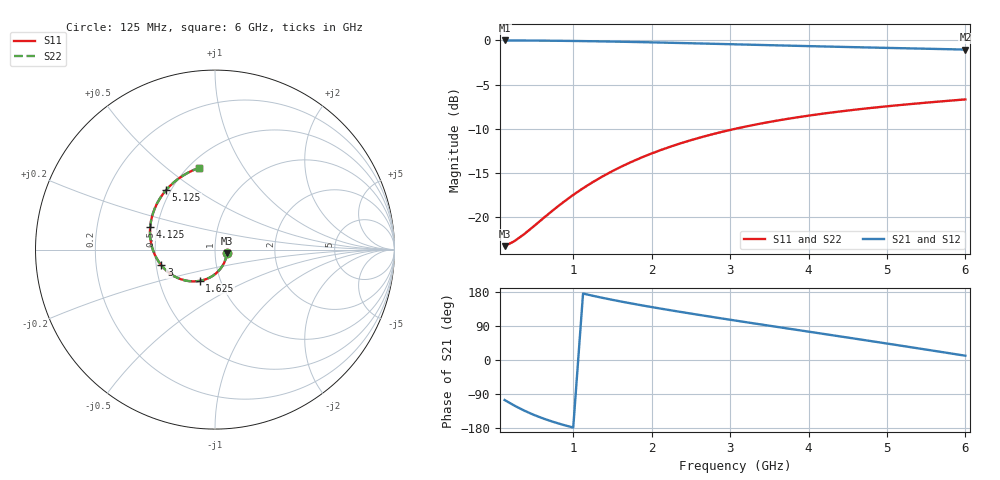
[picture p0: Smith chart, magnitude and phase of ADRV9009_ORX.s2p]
! S1P to S2P converted from file: C:\GitWork\Spar\Data\ADRV9009_ORX.s1p
! Spar Program version 0.4
# HZ S MA R 50
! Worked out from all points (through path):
!   48 points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, 125 MHz to 6 GHz, reference 50 ohm
!   highest |S21| = -0.02 dB at 125 MHz (marker M1); lowest = -1.1 dB at 6 GHz (marker M2)
!   lowest |S11| = -23.3 dB at 125 MHz (marker M3), VSWR 1.15, Z = 57 - j2.13 ohm
!   |S11| at or under -10 dB: start of sweep to 3.066 GHz
!   |S22| runs from -23.3 to -6.7 dB; largest |S21 - S12| = 0
!   S11 on the Smith chart (normalised r, x): 125 MHz: 1.14, -0.04; 1.625 GHz: 0.79, -0.29; 3 GHz: 0.53, -0.10; 4.125 GHz: 0.46, +0.13; 5.125 GHz: 0.47, +0.38; 6 GHz: 0.56, +0.65
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1.25e8  0.06877 -15.6  0.9976 -105.6  0.9976 -105.6  0.06877 -15.6
2.5e8  0.07341 -30.4  0.9973 -120.4  0.9973 -120.4  0.07341 -30.4
3.75e8  0.08046 -43.5  0.9968 -133.5  0.9968 -133.5  0.08046 -43.5
5e8  0.08931 -55.0  0.996 -145.0  0.996 -145.0  0.08931 -55.0
6.25e8  0.09944 -64.9  0.995 -154.9  0.995 -154.9  0.09944 -64.9
7.5e8  0.1104 -73.6  0.9939 -163.6  0.9939 -163.6  0.1104 -73.6
8.75e8  0.122 -81.3  0.9925 -171.3  0.9925 -171.3  0.122 -81.3
1.125e9  0.146 -94.6  0.9893 175.4  0.9893 175.4  0.146 -94.6
1.375e9  0.1704 -106.0  0.9854 164.0  0.9854 164.0  0.1704 -106.0
1.625e9  0.1946 -116.3  0.9809 153.7  0.9809 153.7  0.1946 -116.3
1.875e9  0.2181 -125.8  0.9759 144.2  0.9759 144.2  0.2181 -125.8
2.125e9  0.2408 -134.7  0.9706 135.3  0.9706 135.3  0.2408 -134.7
2.5e9  0.2728 -147.5  0.9621 122.5  0.9621 122.5  0.2728 -147.5
2.75e9  0.2928 -155.7  0.9562 114.3  0.9562 114.3  0.2928 -155.7
3e9  0.3116 -163.7  0.9502 106.3  0.9502 106.3  0.3116 -163.7
3.125e9  0.3205 -167.7  0.9472 102.3  0.9472 102.3  0.3205 -167.7
3.625e9  0.3534 176.5  0.9355 86.5  0.9355 86.5  0.3534 176.5
4.125e9  0.3821 160.9  0.9241 70.9  0.9241 70.9  0.3821 160.9
4.625e9  0.407 145.3  0.9134 55.3  0.9134 55.3  0.407 145.3
5.125e9  0.4291 129.5  0.9033 39.5  0.9033 39.5  0.4291 129.5
5.625e9  0.4492 113.4  0.8934 23.4  0.8934 23.4  0.4492 113.4
6e9  0.4636 101.3  0.8861 11.3  0.8861 11.3  0.4636 101.3
